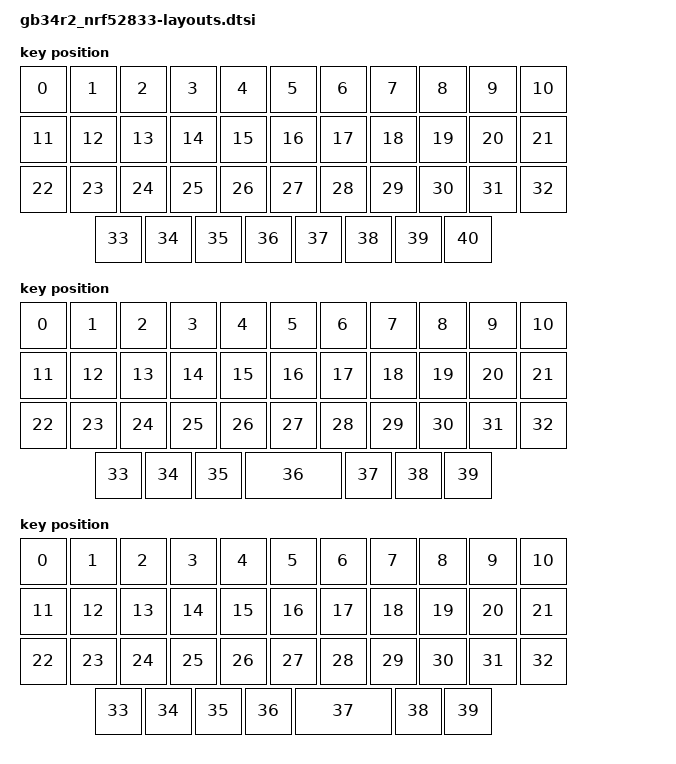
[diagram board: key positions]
/*
 * Copyright (c) 2025 The ZMK Contributors
 * SPDX-License-Identifier: MIT
 */

#include <physical_layouts.dtsi>

/ {

    /omit-if-no-ref/ layout_ortho_all1u: layout_ortho_all1u {
        compatible = "zmk,physical-layout";
        display-name = "Ortho / All 1u";

        transform = <&transform_ortho_all1u>;

        keys  //                     w   h    x    y     rot    rx    ry
            = <&key_physical_attrs 100 100    0    0       0     0     0>
            , <&key_physical_attrs 100 100  100    0       0     0     0>
            , <&key_physical_attrs 100 100  200    0       0     0     0>
            , <&key_physical_attrs 100 100  300    0       0     0     0>
            , <&key_physical_attrs 100 100  400    0       0     0     0>
            , <&key_physical_attrs 100 100  500    0       0     0     0>
            , <&key_physical_attrs 100 100  600    0       0     0     0>
            , <&key_physical_attrs 100 100  700    0       0     0     0>
            , <&key_physical_attrs 100 100  800    0       0     0     0>
            , <&key_physical_attrs 100 100  900    0       0     0     0>
            , <&key_physical_attrs 100 100 1000    0       0     0     0>
            , <&key_physical_attrs 100 100    0  100       0     0     0>
            , <&key_physical_attrs 100 100  100  100       0     0     0>
            , <&key_physical_attrs 100 100  200  100       0     0     0>
            , <&key_physical_attrs 100 100  300  100       0     0     0>
            , <&key_physical_attrs 100 100  400  100       0     0     0>
            , <&key_physical_attrs 100 100  500  100       0     0     0>
            , <&key_physical_attrs 100 100  600  100       0     0     0>
            , <&key_physical_attrs 100 100  700  100       0     0     0>
            , <&key_physical_attrs 100 100  800  100       0     0     0>
            , <&key_physical_attrs 100 100  900  100       0     0     0>
            , <&key_physical_attrs 100 100 1000  100       0     0     0>
            , <&key_physical_attrs 100 100    0  200       0     0     0>
            , <&key_physical_attrs 100 100  100  200       0     0     0>
            , <&key_physical_attrs 100 100  200  200       0     0     0>
            , <&key_physical_attrs 100 100  300  200       0     0     0>
            , <&key_physical_attrs 100 100  400  200       0     0     0>
            , <&key_physical_attrs 100 100  500  200       0     0     0>
            , <&key_physical_attrs 100 100  600  200       0     0     0>
            , <&key_physical_attrs 100 100  700  200       0     0     0>
            , <&key_physical_attrs 100 100  800  200       0     0     0>
            , <&key_physical_attrs 100 100  900  200       0     0     0>
            , <&key_physical_attrs 100 100 1000  200       0     0     0>
            , <&key_physical_attrs 100 100  150  300       0     0     0>
            , <&key_physical_attrs 100 100  250  300       0     0     0>
            , <&key_physical_attrs 100 100  350  300       0     0     0>
            , <&key_physical_attrs 100 100  450  300       0     0     0>
            , <&key_physical_attrs 100 100  550  300       0     0     0>
            , <&key_physical_attrs 100 100  650  300       0     0     0>
            , <&key_physical_attrs 100 100  750  300       0     0     0>
            , <&key_physical_attrs 100 100  850  300       0     0     0>
            ;
    };

    /omit-if-no-ref/ layout_ortho_1x2u: layout_ortho_1x2u {
        compatible = "zmk,physical-layout";
        display-name = "Ortho / 1x2u";

        transform = <&transform_ortho_1x2u>;

        keys  //                     w   h    x    y     rot    rx    ry
            = <&key_physical_attrs 100 100    0    0       0     0     0>
            , <&key_physical_attrs 100 100  100    0       0     0     0>
            , <&key_physical_attrs 100 100  200    0       0     0     0>
            , <&key_physical_attrs 100 100  300    0       0     0     0>
            , <&key_physical_attrs 100 100  400    0       0     0     0>
            , <&key_physical_attrs 100 100  500    0       0     0     0>
            , <&key_physical_attrs 100 100  600    0       0     0     0>
            , <&key_physical_attrs 100 100  700    0       0     0     0>
            , <&key_physical_attrs 100 100  800    0       0     0     0>
            , <&key_physical_attrs 100 100  900    0       0     0     0>
            , <&key_physical_attrs 100 100 1000    0       0     0     0>
            , <&key_physical_attrs 100 100    0  100       0     0     0>
            , <&key_physical_attrs 100 100  100  100       0     0     0>
            , <&key_physical_attrs 100 100  200  100       0     0     0>
            , <&key_physical_attrs 100 100  300  100       0     0     0>
            , <&key_physical_attrs 100 100  400  100       0     0     0>
            , <&key_physical_attrs 100 100  500  100       0     0     0>
            , <&key_physical_attrs 100 100  600  100       0     0     0>
            , <&key_physical_attrs 100 100  700  100       0     0     0>
            , <&key_physical_attrs 100 100  800  100       0     0     0>
            , <&key_physical_attrs 100 100  900  100       0     0     0>
            , <&key_physical_attrs 100 100 1000  100       0     0     0>
            , <&key_physical_attrs 100 100    0  200       0     0     0>
            , <&key_physical_attrs 100 100  100  200       0     0     0>
            , <&key_physical_attrs 100 100  200  200       0     0     0>
            , <&key_physical_attrs 100 100  300  200       0     0     0>
            , <&key_physical_attrs 100 100  400  200       0     0     0>
            , <&key_physical_attrs 100 100  500  200       0     0     0>
            , <&key_physical_attrs 100 100  600  200       0     0     0>
            , <&key_physical_attrs 100 100  700  200       0     0     0>
            , <&key_physical_attrs 100 100  800  200       0     0     0>
            , <&key_physical_attrs 100 100  900  200       0     0     0>
            , <&key_physical_attrs 100 100 1000  200       0     0     0>
            , <&key_physical_attrs 100 100  150  300       0     0     0>
            , <&key_physical_attrs 100 100  250  300       0     0     0>
            , <&key_physical_attrs 100 100  350  300       0     0     0>
            , <&key_physical_attrs 200 100  450  300       0     0     0>
            , <&key_physical_attrs 100 100  650  300       0     0     0>
            , <&key_physical_attrs 100 100  750  300       0     0     0>
            , <&key_physical_attrs 100 100  850  300       0     0     0>
            ;
    };

    /omit-if-no-ref/ layout_ortho_1u1u2u: layout_ortho_1u1u2u {
        compatible = "zmk,physical-layout";
        display-name = "Ortho / 1u 1u 2u";

        transform = <&transform_ortho_1u1u2u>;

        keys  //                     w   h    x    y     rot    rx    ry
            = <&key_physical_attrs 100 100    0    0       0     0     0>
            , <&key_physical_attrs 100 100  100    0       0     0     0>
            , <&key_physical_attrs 100 100  200    0       0     0     0>
            , <&key_physical_attrs 100 100  300    0       0     0     0>
            , <&key_physical_attrs 100 100  400    0       0     0     0>
            , <&key_physical_attrs 100 100  500    0       0     0     0>
            , <&key_physical_attrs 100 100  600    0       0     0     0>
            , <&key_physical_attrs 100 100  700    0       0     0     0>
            , <&key_physical_attrs 100 100  800    0       0     0     0>
            , <&key_physical_attrs 100 100  900    0       0     0     0>
            , <&key_physical_attrs 100 100 1000    0       0     0     0>
            , <&key_physical_attrs 100 100    0  100       0     0     0>
            , <&key_physical_attrs 100 100  100  100       0     0     0>
            , <&key_physical_attrs 100 100  200  100       0     0     0>
            , <&key_physical_attrs 100 100  300  100       0     0     0>
            , <&key_physical_attrs 100 100  400  100       0     0     0>
            , <&key_physical_attrs 100 100  500  100       0     0     0>
            , <&key_physical_attrs 100 100  600  100       0     0     0>
            , <&key_physical_attrs 100 100  700  100       0     0     0>
            , <&key_physical_attrs 100 100  800  100       0     0     0>
            , <&key_physical_attrs 100 100  900  100       0     0     0>
            , <&key_physical_attrs 100 100 1000  100       0     0     0>
            , <&key_physical_attrs 100 100    0  200       0     0     0>
            , <&key_physical_attrs 100 100  100  200       0     0     0>
            , <&key_physical_attrs 100 100  200  200       0     0     0>
            , <&key_physical_attrs 100 100  300  200       0     0     0>
            , <&key_physical_attrs 100 100  400  200       0     0     0>
            , <&key_physical_attrs 100 100  500  200       0     0     0>
            , <&key_physical_attrs 100 100  600  200       0     0     0>
            , <&key_physical_attrs 100 100  700  200       0     0     0>
            , <&key_physical_attrs 100 100  800  200       0     0     0>
            , <&key_physical_attrs 100 100  900  200       0     0     0>
            , <&key_physical_attrs 100 100 1000  200       0     0     0>
            , <&key_physical_attrs 100 100  150  300       0     0     0>
            , <&key_physical_attrs 100 100  250  300       0     0     0>
            , <&key_physical_attrs 100 100  350  300       0     0     0>
            , <&key_physical_attrs 100 100  450  300       0     0     0>
            , <&key_physical_attrs 200 100  550  300       0     0     0>
            , <&key_physical_attrs 100 100  750  300       0     0     0>
            , <&key_physical_attrs 100 100  850  300       0     0     0>
            ;
    };

    /omit-if-no-ref/ layout_ortho_2u1u1u: layout_ortho_2u1u1u {
        compatible = "zmk,physical-layout";
        display-name = "Ortho / 2u 1u 1u";

        transform = <&transform_ortho_2u1u1u>;

        keys  //                     w   h    x    y     rot    rx    ry
            = <&key_physical_attrs 100 100    0    0       0     0     0>
            , <&key_physical_attrs 100 100  100    0       0     0     0>
            , <&key_physical_attrs 100 100  200    0       0     0     0>
            , <&key_physical_attrs 100 100  300    0       0     0     0>
            , <&key_physical_attrs 100 100  400    0       0     0     0>
            , <&key_physical_attrs 100 100  500    0       0     0     0>
            , <&key_physical_attrs 100 100  600    0       0     0     0>
            , <&key_physical_attrs 100 100  700    0       0     0     0>
            , <&key_physical_attrs 100 100  800    0       0     0     0>
            , <&key_physical_attrs 100 100  900    0       0     0     0>
            , <&key_physical_attrs 100 100 1000    0       0     0     0>
            , <&key_physical_attrs 100 100    0  100       0     0     0>
            , <&key_physical_attrs 100 100  100  100       0     0     0>
            , <&key_physical_attrs 100 100  200  100       0     0     0>
            , <&key_physical_attrs 100 100  300  100       0     0     0>
            , <&key_physical_attrs 100 100  400  100       0     0     0>
            , <&key_physical_attrs 100 100  500  100       0     0     0>
            , <&key_physical_attrs 100 100  600  100       0     0     0>
            , <&key_physical_attrs 100 100  700  100       0     0     0>
            , <&key_physical_attrs 100 100  800  100       0     0     0>
            , <&key_physical_attrs 100 100  900  100       0     0     0>
            , <&key_physical_attrs 100 100 1000  100       0     0     0>
            , <&key_physical_attrs 100 100    0  200       0     0     0>
            , <&key_physical_attrs 100 100  100  200       0     0     0>
            , <&key_physical_attrs 100 100  200  200       0     0     0>
            , <&key_physical_attrs 100 100  300  200       0     0     0>
            , <&key_physical_attrs 100 100  400  200       0     0     0>
            , <&key_physical_attrs 100 100  500  200       0     0     0>
            , <&key_physical_attrs 100 100  600  200       0     0     0>
            , <&key_physical_attrs 100 100  700  200       0     0     0>
            , <&key_physical_attrs 100 100  800  200       0     0     0>
            , <&key_physical_attrs 100 100  900  200       0     0     0>
            , <&key_physical_attrs 100 100 1000  200       0     0     0>
            , <&key_physical_attrs 100 100  150  300       0     0     0>
            , <&key_physical_attrs 100 100  250  300       0     0     0>
            , <&key_physical_attrs 200 100  350  300       0     0     0>
            , <&key_physical_attrs 100 100  550  300       0     0     0>
            , <&key_physical_attrs 100 100  650  300       0     0     0>
            , <&key_physical_attrs 100 100  750  300       0     0     0>
            , <&key_physical_attrs 100 100  850  300       0     0     0>
            ;
    };

    /omit-if-no-ref/ layout_ortho_2x2u: layout_ortho_2x2u {
        compatible = "zmk,physical-layout";
        display-name = "Ortho / 2x2u";

        transform = <&transform_ortho_2x2u>;

        keys  //                     w   h    x    y     rot    rx    ry
            = <&key_physical_attrs 100 100    0    0       0     0     0>
            , <&key_physical_attrs 100 100  100    0       0     0     0>
            , <&key_physical_attrs 100 100  200    0       0     0     0>
            , <&key_physical_attrs 100 100  300    0       0     0     0>
            , <&key_physical_attrs 100 100  400    0       0     0     0>
            , <&key_physical_attrs 100 100  500    0       0     0     0>
            , <&key_physical_attrs 100 100  600    0       0     0     0>
            , <&key_physical_attrs 100 100  700    0       0     0     0>
            , <&key_physical_attrs 100 100  800    0       0     0     0>
            , <&key_physical_attrs 100 100  900    0       0     0     0>
            , <&key_physical_attrs 100 100 1000    0       0     0     0>
            , <&key_physical_attrs 100 100    0  100       0     0     0>
            , <&key_physical_attrs 100 100  100  100       0     0     0>
            , <&key_physical_attrs 100 100  200  100       0     0     0>
            , <&key_physical_attrs 100 100  300  100       0     0     0>
            , <&key_physical_attrs 100 100  400  100       0     0     0>
            , <&key_physical_attrs 100 100  500  100       0     0     0>
            , <&key_physical_attrs 100 100  600  100       0     0     0>
            , <&key_physical_attrs 100 100  700  100       0     0     0>
            , <&key_physical_attrs 100 100  800  100       0     0     0>
            , <&key_physical_attrs 100 100  900  100       0     0     0>
            , <&key_physical_attrs 100 100 1000  100       0     0     0>
            , <&key_physical_attrs 100 100    0  200       0     0     0>
            , <&key_physical_attrs 100 100  100  200       0     0     0>
            , <&key_physical_attrs 100 100  200  200       0     0     0>
            , <&key_physical_attrs 100 100  300  200       0     0     0>
            , <&key_physical_attrs 100 100  400  200       0     0     0>
            , <&key_physical_attrs 100 100  500  200       0     0     0>
            , <&key_physical_attrs 100 100  600  200       0     0     0>
            , <&key_physical_attrs 100 100  700  200       0     0     0>
            , <&key_physical_attrs 100 100  800  200       0     0     0>
            , <&key_physical_attrs 100 100  900  200       0     0     0>
            , <&key_physical_attrs 100 100 1000  200       0     0     0>
            , <&key_physical_attrs 100 100  150  300       0     0     0>
            , <&key_physical_attrs 100 100  250  300       0     0     0>
            , <&key_physical_attrs 200 100  350  300       0     0     0>
            , <&key_physical_attrs 200 100  550  300       0     0     0>
            , <&key_physical_attrs 100 100  750  300       0     0     0>
            , <&key_physical_attrs 100 100  850  300       0     0     0>
            ;
    };

    /omit-if-no-ref/ layout_ortho_1u1u1u3u: layout_ortho_1u1u1u3u {
        compatible = "zmk,physical-layout";
        display-name = "Ortho / 1u 1u 1u 3u";

        transform = <&transform_ortho_1u1u1u3u>;

        keys  //                     w   h    x    y     rot    rx    ry
            = <&key_physical_attrs 100 100    0    0       0     0     0>
            , <&key_physical_attrs 100 100  100    0       0     0     0>
            , <&key_physical_attrs 100 100  200    0       0     0     0>
            , <&key_physical_attrs 100 100  300    0       0     0     0>
            , <&key_physical_attrs 100 100  400    0       0     0     0>
            , <&key_physical_attrs 100 100  500    0       0     0     0>
            , <&key_physical_attrs 100 100  600    0       0     0     0>
            , <&key_physical_attrs 100 100  700    0       0     0     0>
            , <&key_physical_attrs 100 100  800    0       0     0     0>
            , <&key_physical_attrs 100 100  900    0       0     0     0>
            , <&key_physical_attrs 100 100 1000    0       0     0     0>
            , <&key_physical_attrs 100 100    0  100       0     0     0>
            , <&key_physical_attrs 100 100  100  100       0     0     0>
            , <&key_physical_attrs 100 100  200  100       0     0     0>
            , <&key_physical_attrs 100 100  300  100       0     0     0>
            , <&key_physical_attrs 100 100  400  100       0     0     0>
            , <&key_physical_attrs 100 100  500  100       0     0     0>
            , <&key_physical_attrs 100 100  600  100       0     0     0>
            , <&key_physical_attrs 100 100  700  100       0     0     0>
            , <&key_physical_attrs 100 100  800  100       0     0     0>
            , <&key_physical_attrs 100 100  900  100       0     0     0>
            , <&key_physical_attrs 100 100 1000  100       0     0     0>
            , <&key_physical_attrs 100 100    0  200       0     0     0>
            , <&key_physical_attrs 100 100  100  200       0     0     0>
            , <&key_physical_attrs 100 100  200  200       0     0     0>
            , <&key_physical_attrs 100 100  300  200       0     0     0>
            , <&key_physical_attrs 100 100  400  200       0     0     0>
            , <&key_physical_attrs 100 100  500  200       0     0     0>
            , <&key_physical_attrs 100 100  600  200       0     0     0>
            , <&key_physical_attrs 100 100  700  200       0     0     0>
            , <&key_physical_attrs 100 100  800  200       0     0     0>
            , <&key_physical_attrs 100 100  900  200       0     0     0>
            , <&key_physical_attrs 100 100 1000  200       0     0     0>
            , <&key_physical_attrs 100 100  150  300       0     0     0>
            , <&key_physical_attrs 100 100  250  300       0     0     0>
            , <&key_physical_attrs 100 100  350  300       0     0     0>
            , <&key_physical_attrs 100 100  450  300       0     0     0>
            , <&key_physical_attrs 300 100  550  300       0     0     0>
            , <&key_physical_attrs 100 100  850  300       0     0     0>
            ;
    };

    /omit-if-no-ref/ layout_ortho_1u2u3u: layout_ortho_1u2u3u {
        compatible = "zmk,physical-layout";
        display-name = "Ortho / 1u 2u 3u";

        transform = <&transform_ortho_1u2u3u>;

        keys  //                     w   h    x    y     rot    rx    ry
            = <&key_physical_attrs 100 100    0    0       0     0     0>
            , <&key_physical_attrs 100 100  100    0       0     0     0>
            , <&key_physical_attrs 100 100  200    0       0     0     0>
            , <&key_physical_attrs 100 100  300    0       0     0     0>
            , <&key_physical_attrs 100 100  400    0       0     0     0>
            , <&key_physical_attrs 100 100  500    0       0     0     0>
            , <&key_physical_attrs 100 100  600    0       0     0     0>
            , <&key_physical_attrs 100 100  700    0       0     0     0>
            , <&key_physical_attrs 100 100  800    0       0     0     0>
            , <&key_physical_attrs 100 100  900    0       0     0     0>
            , <&key_physical_attrs 100 100 1000    0       0     0     0>
            , <&key_physical_attrs 100 100    0  100       0     0     0>
            , <&key_physical_attrs 100 100  100  100       0     0     0>
            , <&key_physical_attrs 100 100  200  100       0     0     0>
            , <&key_physical_attrs 100 100  300  100       0     0     0>
            , <&key_physical_attrs 100 100  400  100       0     0     0>
            , <&key_physical_attrs 100 100  500  100       0     0     0>
            , <&key_physical_attrs 100 100  600  100       0     0     0>
            , <&key_physical_attrs 100 100  700  100       0     0     0>
            , <&key_physical_attrs 100 100  800  100       0     0     0>
            , <&key_physical_attrs 100 100  900  100       0     0     0>
            , <&key_physical_attrs 100 100 1000  100       0     0     0>
            , <&key_physical_attrs 100 100    0  200       0     0     0>
            , <&key_physical_attrs 100 100  100  200       0     0     0>
            , <&key_physical_attrs 100 100  200  200       0     0     0>
            , <&key_physical_attrs 100 100  300  200       0     0     0>
            , <&key_physical_attrs 100 100  400  200       0     0     0>
            , <&key_physical_attrs 100 100  500  200       0     0     0>
            , <&key_physical_attrs 100 100  600  200       0     0     0>
            , <&key_physical_attrs 100 100  700  200       0     0     0>
            , <&key_physical_attrs 100 100  800  200       0     0     0>
            , <&key_physical_attrs 100 100  900  200       0     0     0>
            , <&key_physical_attrs 100 100 1000  200       0     0     0>
            , <&key_physical_attrs 100 100  150  300       0     0     0>
            , <&key_physical_attrs 100 100  250  300       0     0     0>
            , <&key_physical_attrs 200 100  350  300       0     0     0>
            , <&key_physical_attrs 300 100  550  300       0     0     0>
            , <&key_physical_attrs 100 100  850  300       0     0     0>
            ;
    };

    /omit-if-no-ref/ layout_ortho_3u1u1u1u: layout_ortho_3u1u1u1u {
        compatible = "zmk,physical-layout";
        display-name = "Ortho / 3u 1u 1u 1u";

        transform = <&transform_ortho_3u1u1u1u>;

        keys  //                     w   h    x    y     rot    rx    ry
            = <&key_physical_attrs 100 100    0    0       0     0     0>
            , <&key_physical_attrs 100 100  100    0       0     0     0>
            , <&key_physical_attrs 100 100  200    0       0     0     0>
            , <&key_physical_attrs 100 100  300    0       0     0     0>
            , <&key_physical_attrs 100 100  400    0       0     0     0>
            , <&key_physical_attrs 100 100  500    0       0     0     0>
            , <&key_physical_attrs 100 100  600    0       0     0     0>
            , <&key_physical_attrs 100 100  700    0       0     0     0>
            , <&key_physical_attrs 100 100  800    0       0     0     0>
            , <&key_physical_attrs 100 100  900    0       0     0     0>
            , <&key_physical_attrs 100 100 1000    0       0     0     0>
            , <&key_physical_attrs 100 100    0  100       0     0     0>
            , <&key_physical_attrs 100 100  100  100       0     0     0>
            , <&key_physical_attrs 100 100  200  100       0     0     0>
            , <&key_physical_attrs 100 100  300  100       0     0     0>
            , <&key_physical_attrs 100 100  400  100       0     0     0>
            , <&key_physical_attrs 100 100  500  100       0     0     0>
            , <&key_physical_attrs 100 100  600  100       0     0     0>
            , <&key_physical_attrs 100 100  700  100       0     0     0>
            , <&key_physical_attrs 100 100  800  100       0     0     0>
            , <&key_physical_attrs 100 100  900  100       0     0     0>
            , <&key_physical_attrs 100 100 1000  100       0     0     0>
            , <&key_physical_attrs 100 100    0  200       0     0     0>
            , <&key_physical_attrs 100 100  100  200       0     0     0>
            , <&key_physical_attrs 100 100  200  200       0     0     0>
            , <&key_physical_attrs 100 100  300  200       0     0     0>
            , <&key_physical_attrs 100 100  400  200       0     0     0>
            , <&key_physical_attrs 100 100  500  200       0     0     0>
            , <&key_physical_attrs 100 100  600  200       0     0     0>
            , <&key_physical_attrs 100 100  700  200       0     0     0>
            , <&key_physical_attrs 100 100  800  200       0     0     0>
            , <&key_physical_attrs 100 100  900  200       0     0     0>
            , <&key_physical_attrs 100 100 1000  200       0     0     0>
            , <&key_physical_attrs 100 100  150  300       0     0     0>
            , <&key_physical_attrs 300 100  250  300       0     0     0>
            , <&key_physical_attrs 100 100  550  300       0     0     0>
            , <&key_physical_attrs 100 100  650  300       0     0     0>
            , <&key_physical_attrs 100 100  750  300       0     0     0>
            , <&key_physical_attrs 100 100  850  300       0     0     0>
            ;
    };

    /omit-if-no-ref/ layout_ortho_3u2u1u: layout_ortho_3u2u1u {
        compatible = "zmk,physical-layout";
        display-name = "Ortho / 3u 2u 1u";

        transform = <&transform_ortho_3u2u1u>;

        keys  //                     w   h    x    y     rot    rx    ry
            = <&key_physical_attrs 100 100    0    0       0     0     0>
            , <&key_physical_attrs 100 100  100    0       0     0     0>
            , <&key_physical_attrs 100 100  200    0       0     0     0>
            , <&key_physical_attrs 100 100  300    0       0     0     0>
            , <&key_physical_attrs 100 100  400    0       0     0     0>
            , <&key_physical_attrs 100 100  500    0       0     0     0>
            , <&key_physical_attrs 100 100  600    0       0     0     0>
            , <&key_physical_attrs 100 100  700    0       0     0     0>
            , <&key_physical_attrs 100 100  800    0       0     0     0>
            , <&key_physical_attrs 100 100  900    0       0     0     0>
            , <&key_physical_attrs 100 100 1000    0       0     0     0>
            , <&key_physical_attrs 100 100    0  100       0     0     0>
            , <&key_physical_attrs 100 100  100  100       0     0     0>
            , <&key_physical_attrs 100 100  200  100       0     0     0>
            , <&key_physical_attrs 100 100  300  100       0     0     0>
            , <&key_physical_attrs 100 100  400  100       0     0     0>
            , <&key_physical_attrs 100 100  500  100       0     0     0>
            , <&key_physical_attrs 100 100  600  100       0     0     0>
            , <&key_physical_attrs 100 100  700  100       0     0     0>
            , <&key_physical_attrs 100 100  800  100       0     0     0>
            , <&key_physical_attrs 100 100  900  100       0     0     0>
            , <&key_physical_attrs 100 100 1000  100       0     0     0>
            , <&key_physical_attrs 100 100    0  200       0     0     0>
            , <&key_physical_attrs 100 100  100  200       0     0     0>
            , <&key_physical_attrs 100 100  200  200       0     0     0>
            , <&key_physical_attrs 100 100  300  200       0     0     0>
            , <&key_physical_attrs 100 100  400  200       0     0     0>
            , <&key_physical_attrs 100 100  500  200       0     0     0>
            , <&key_physical_attrs 100 100  600  200       0     0     0>
            , <&key_physical_attrs 100 100  700  200       0     0     0>
            , <&key_physical_attrs 100 100  800  200       0     0     0>
            , <&key_physical_attrs 100 100  900  200       0     0     0>
            , <&key_physical_attrs 100 100 1000  200       0     0     0>
            , <&key_physical_attrs 100 100  150  300       0     0     0>
            , <&key_physical_attrs 300 100  250  300       0     0     0>
            , <&key_physical_attrs 200 100  550  300       0     0     0>
            , <&key_physical_attrs 100 100  750  300       0     0     0>
            , <&key_physical_attrs 100 100  850  300       0     0     0>
            ;
    };

    /omit-if-no-ref/ layout_ortho_2x3u: layout_ortho_2x3u {
        compatible = "zmk,physical-layout";
        display-name = "Ortho / 2x3u";

        transform = <&transform_ortho_2x3u>;

        keys  //                     w   h    x    y     rot    rx    ry
            = <&key_physical_attrs 100 100    0    0       0     0     0>
            , <&key_physical_attrs 100 100  100    0       0     0     0>
            , <&key_physical_attrs 100 100  200    0       0     0     0>
            , <&key_physical_attrs 100 100  300    0       0     0     0>
            , <&key_physical_attrs 100 100  400    0       0     0     0>
            , <&key_physical_attrs 100 100  500    0       0     0     0>
            , <&key_physical_attrs 100 100  600    0       0     0     0>
            , <&key_physical_attrs 100 100  700    0       0     0     0>
            , <&key_physical_attrs 100 100  800    0       0     0     0>
            , <&key_physical_attrs 100 100  900    0       0     0     0>
            , <&key_physical_attrs 100 100 1000    0       0     0     0>
            , <&key_physical_attrs 100 100    0  100       0     0     0>
            , <&key_physical_attrs 100 100  100  100       0     0     0>
            , <&key_physical_attrs 100 100  200  100       0     0     0>
            , <&key_physical_attrs 100 100  300  100       0     0     0>
            , <&key_physical_attrs 100 100  400  100       0     0     0>
            , <&key_physical_attrs 100 100  500  100       0     0     0>
            , <&key_physical_attrs 100 100  600  100       0     0     0>
            , <&key_physical_attrs 100 100  700  100       0     0     0>
            , <&key_physical_attrs 100 100  800  100       0     0     0>
            , <&key_physical_attrs 100 100  900  100       0     0     0>
            , <&key_physical_attrs 100 100 1000  100       0     0     0>
            , <&key_physical_attrs 100 100    0  200       0     0     0>
            , <&key_physical_attrs 100 100  100  200       0     0     0>
            , <&key_physical_attrs 100 100  200  200       0     0     0>
            , <&key_physical_attrs 100 100  300  200       0     0     0>
            , <&key_physical_attrs 100 100  400  200       0     0     0>
            , <&key_physical_attrs 100 100  500  200       0     0     0>
            , <&key_physical_attrs 100 100  600  200       0     0     0>
            , <&key_physical_attrs 100 100  700  200       0     0     0>
            , <&key_physical_attrs 100 100  800  200       0     0     0>
            , <&key_physical_attrs 100 100  900  200       0     0     0>
            , <&key_physical_attrs 100 100 1000  200       0     0     0>
            , <&key_physical_attrs 100 100  150  300       0     0     0>
            , <&key_physical_attrs 300 100  250  300       0     0     0>
            , <&key_physical_attrs 300 100  550  300       0     0     0>
            , <&key_physical_attrs 100 100  850  300       0     0     0>
            ;
    };

    /omit-if-no-ref/ layout_ortho_6u: layout_ortho_6u {
        compatible = "zmk,physical-layout";
        display-name = "Ortho / 6u";

        transform = <&transform_ortho_6u>;

        keys  //                     w   h    x    y     rot    rx    ry
            = <&key_physical_attrs 100 100    0    0       0     0     0>
            , <&key_physical_attrs 100 100  100    0       0     0     0>
            , <&key_physical_attrs 100 100  200    0       0     0     0>
            , <&key_physical_attrs 100 100  300    0       0     0     0>
            , <&key_physical_attrs 100 100  400    0       0     0     0>
            , <&key_physical_attrs 100 100  500    0       0     0     0>
            , <&key_physical_attrs 100 100  600    0       0     0     0>
            , <&key_physical_attrs 100 100  700    0       0     0     0>
            , <&key_physical_attrs 100 100  800    0       0     0     0>
            , <&key_physical_attrs 100 100  900    0       0     0     0>
            , <&key_physical_attrs 100 100 1000    0       0     0     0>
            , <&key_physical_attrs 100 100    0  100       0     0     0>
            , <&key_physical_attrs 100 100  100  100       0     0     0>
            , <&key_physical_attrs 100 100  200  100       0     0     0>
            , <&key_physical_attrs 100 100  300  100       0     0     0>
            , <&key_physical_attrs 100 100  400  100       0     0     0>
            , <&key_physical_attrs 100 100  500  100       0     0     0>
            , <&key_physical_attrs 100 100  600  100       0     0     0>
            , <&key_physical_attrs 100 100  700  100       0     0     0>
            , <&key_physical_attrs 100 100  800  100       0     0     0>
            , <&key_physical_attrs 100 100  900  100       0     0     0>
            , <&key_physical_attrs 100 100 1000  100       0     0     0>
            , <&key_physical_attrs 100 100    0  200       0     0     0>
            , <&key_physical_attrs 100 100  100  200       0     0     0>
            , <&key_physical_attrs 100 100  200  200       0     0     0>
            , <&key_physical_attrs 100 100  300  200       0     0     0>
            , <&key_physical_attrs 100 100  400  200       0     0     0>
            , <&key_physical_attrs 100 100  500  200       0     0     0>
            , <&key_physical_attrs 100 100  600  200       0     0     0>
            , <&key_physical_attrs 100 100  700  200       0     0     0>
            , <&key_physical_attrs 100 100  800  200       0     0     0>
            , <&key_physical_attrs 100 100  900  200       0     0     0>
            , <&key_physical_attrs 100 100 1000  200       0     0     0>
            , <&key_physical_attrs 100 100  150  300       0     0     0>
            , <&key_physical_attrs 600 100  250  300       0     0     0>
            , <&key_physical_attrs 100 100  850  300       0     0     0>
            ;
    };

    /omit-if-no-ref/ layout_standard_all1u: layout_standard_all1u {
        compatible = "zmk,physical-layout";
        display-name = "Standard / All 1u";

        transform = <&transform_standard_all1u>;

        keys  //                     w   h    x    y     rot    rx    ry
            = <&key_physical_attrs 100 100    0    0       0     0     0>
            , <&key_physical_attrs 100 100  100    0       0     0     0>
            , <&key_physical_attrs 100 100  200    0       0     0     0>
            , <&key_physical_attrs 100 100  300    0       0     0     0>
            , <&key_physical_attrs 100 100  400    0       0     0     0>
            , <&key_physical_attrs 100 100  500    0       0     0     0>
            , <&key_physical_attrs 100 100  600    0       0     0     0>
            , <&key_physical_attrs 100 100  700    0       0     0     0>
            , <&key_physical_attrs 100 100  800    0       0     0     0>
            , <&key_physical_attrs 100 100  900    0       0     0     0>
            , <&key_physical_attrs 100 100 1000    0       0     0     0>
            , <&key_physical_attrs 125 100    0  100       0     0     0>
            , <&key_physical_attrs 100 100  125  100       0     0     0>
            , <&key_physical_attrs 100 100  225  100       0     0     0>
            , <&key_physical_attrs 100 100  325  100       0     0     0>
            , <&key_physical_attrs 100 100  425  100       0     0     0>
            , <&key_physical_attrs 100 100  525  100       0     0     0>
            , <&key_physical_attrs 100 100  625  100       0     0     0>
            , <&key_physical_attrs 100 100  725  100       0     0     0>
            , <&key_physical_attrs 100 100  825  100       0     0     0>
            , <&key_physical_attrs 175 100  925  100       0     0     0>
            , <&key_physical_attrs 175 100    0  200       0     0     0>
            , <&key_physical_attrs 100 100  175  200       0     0     0>
            , <&key_physical_attrs 100 100  275  200       0     0     0>
            , <&key_physical_attrs 100 100  375  200       0     0     0>
            , <&key_physical_attrs 100 100  475  200       0     0     0>
            , <&key_physical_attrs 100 100  575  200       0     0     0>
            , <&key_physical_attrs 100 100  675  200       0     0     0>
            , <&key_physical_attrs 100 100  775  200       0     0     0>
            , <&key_physical_attrs 100 100  875  200       0     0     0>
            , <&key_physical_attrs 125 100  975  200       0     0     0>
            , <&key_physical_attrs 100 100  150  300       0     0     0>
            , <&key_physical_attrs 100 100  250  300       0     0     0>
            , <&key_physical_attrs 100 100  350  300       0     0     0>
            , <&key_physical_attrs 100 100  450  300       0     0     0>
            , <&key_physical_attrs 100 100  550  300       0     0     0>
            , <&key_physical_attrs 100 100  650  300       0     0     0>
            , <&key_physical_attrs 100 100  750  300       0     0     0>
            , <&key_physical_attrs 100 100  850  300       0     0     0>
            ;
    };

    /omit-if-no-ref/ layout_standard_1x2u: layout_standard_1x2u {
        compatible = "zmk,physical-layout";
        display-name = "Standard / 1x2u";

        transform = <&transform_standard_1x2u>;

        keys  //                     w   h    x    y     rot    rx    ry
            = <&key_physical_attrs 100 100    0    0       0     0     0>
            , <&key_physical_attrs 100 100  100    0       0     0     0>
            , <&key_physical_attrs 100 100  200    0       0     0     0>
            , <&key_physical_attrs 100 100  300    0       0     0     0>
            , <&key_physical_attrs 100 100  400    0       0     0     0>
            , <&key_physical_attrs 100 100  500    0       0     0     0>
            , <&key_physical_attrs 100 100  600    0       0     0     0>
            , <&key_physical_attrs 100 100  700    0       0     0     0>
            , <&key_physical_attrs 100 100  800    0       0     0     0>
            , <&key_physical_attrs 100 100  900    0       0     0     0>
            , <&key_physical_attrs 100 100 1000    0       0     0     0>
            , <&key_physical_attrs 125 100    0  100       0     0     0>
            , <&key_physical_attrs 100 100  125  100       0     0     0>
            , <&key_physical_attrs 100 100  225  100       0     0     0>
            , <&key_physical_attrs 100 100  325  100       0     0     0>
            , <&key_physical_attrs 100 100  425  100       0     0     0>
            , <&key_physical_attrs 100 100  525  100       0     0     0>
            , <&key_physical_attrs 100 100  625  100       0     0     0>
            , <&key_physical_attrs 100 100  725  100       0     0     0>
            , <&key_physical_attrs 100 100  825  100       0     0     0>
            , <&key_physical_attrs 175 100  925  100       0     0     0>
            , <&key_physical_attrs 175 100    0  200       0     0     0>
            , <&key_physical_attrs 100 100  175  200       0     0     0>
            , <&key_physical_attrs 100 100  275  200       0     0     0>
            , <&key_physical_attrs 100 100  375  200       0     0     0>
            , <&key_physical_attrs 100 100  475  200       0     0     0>
            , <&key_physical_attrs 100 100  575  200       0     0     0>
            , <&key_physical_attrs 100 100  675  200       0     0     0>
            , <&key_physical_attrs 100 100  775  200       0     0     0>
            , <&key_physical_attrs 100 100  875  200       0     0     0>
            , <&key_physical_attrs 125 100  975  200       0     0     0>
            , <&key_physical_attrs 100 100  150  300       0     0     0>
            , <&key_physical_attrs 100 100  250  300       0     0     0>
            , <&key_physical_attrs 100 100  350  300       0     0     0>
            , <&key_physical_attrs 200 100  450  300       0     0     0>
            , <&key_physical_attrs 100 100  650  300       0     0     0>
            , <&key_physical_attrs 100 100  750  300       0     0     0>
            , <&key_physical_attrs 100 100  850  300       0     0     0>
            ;
    };

    /omit-if-no-ref/ layout_standard_1u1u2u: layout_standard_1u1u2u {
        compatible = "zmk,physical-layout";
        display-name = "Standard / 1u 1u 2u";

        transform = <&transform_standard_1u1u2u>;

        keys  //                     w   h    x    y     rot    rx    ry
            = <&key_physical_attrs 100 100    0    0       0     0     0>
            , <&key_physical_attrs 100 100  100    0       0     0     0>
            , <&key_physical_attrs 100 100  200    0       0     0     0>
            , <&key_physical_attrs 100 100  300    0       0     0     0>
            , <&key_physical_attrs 100 100  400    0       0     0     0>
            , <&key_physical_attrs 100 100  500    0       0     0     0>
            , <&key_physical_attrs 100 100  600    0       0     0     0>
            , <&key_physical_attrs 100 100  700    0       0     0     0>
            , <&key_physical_attrs 100 100  800    0       0     0     0>
            , <&key_physical_attrs 100 100  900    0       0     0     0>
            , <&key_physical_attrs 100 100 1000    0       0     0     0>
            , <&key_physical_attrs 125 100    0  100       0     0     0>
            , <&key_physical_attrs 100 100  125  100       0     0     0>
            , <&key_physical_attrs 100 100  225  100       0     0     0>
            , <&key_physical_attrs 100 100  325  100       0     0     0>
            , <&key_physical_attrs 100 100  425  100       0     0     0>
            , <&key_physical_attrs 100 100  525  100       0     0     0>
            , <&key_physical_attrs 100 100  625  100       0     0     0>
            , <&key_physical_attrs 100 100  725  100       0     0     0>
            , <&key_physical_attrs 100 100  825  100       0     0     0>
            , <&key_physical_attrs 175 100  925  100       0     0     0>
            , <&key_physical_attrs 175 100    0  200       0     0     0>
            , <&key_physical_attrs 100 100  175  200       0     0     0>
            , <&key_physical_attrs 100 100  275  200       0     0     0>
            , <&key_physical_attrs 100 100  375  200       0     0     0>
            , <&key_physical_attrs 100 100  475  200       0     0     0>
            , <&key_physical_attrs 100 100  575  200       0     0     0>
            , <&key_physical_attrs 100 100  675  200       0     0     0>
            , <&key_physical_attrs 100 100  775  200       0     0     0>
            , <&key_physical_attrs 100 100  875  200       0     0     0>
            , <&key_physical_attrs 125 100  975  200       0     0     0>
            , <&key_physical_attrs 100 100  150  300       0     0     0>
            , <&key_physical_attrs 100 100  250  300       0     0     0>
            , <&key_physical_attrs 100 100  350  300       0     0     0>
            , <&key_physical_attrs 100 100  450  300       0     0     0>
            , <&key_physical_attrs 200 100  550  300       0     0     0>
            , <&key_physical_attrs 100 100  750  300       0     0     0>
            , <&key_physical_attrs 100 100  850  300       0     0     0>
            ;
    };

    /omit-if-no-ref/ layout_standard_2u1u1u: layout_standard_2u1u1u {
        compatible = "zmk,physical-layout";
        display-name = "Standard / 2u 1u 1u";

        transform = <&transform_standard_2u1u1u>;

        keys  //                     w   h    x    y     rot    rx    ry
            = <&key_physical_attrs 100 100    0    0       0     0     0>
            , <&key_physical_attrs 100 100  100    0       0     0     0>
            , <&key_physical_attrs 100 100  200    0       0     0     0>
            , <&key_physical_attrs 100 100  300    0       0     0     0>
            , <&key_physical_attrs 100 100  400    0       0     0     0>
            , <&key_physical_attrs 100 100  500    0       0     0     0>
            , <&key_physical_attrs 100 100  600    0       0     0     0>
            , <&key_physical_attrs 100 100  700    0       0     0     0>
            , <&key_physical_attrs 100 100  800    0       0     0     0>
            , <&key_physical_attrs 100 100  900    0       0     0     0>
            , <&key_physical_attrs 100 100 1000    0       0     0     0>
            , <&key_physical_attrs 125 100    0  100       0     0     0>
            , <&key_physical_attrs 100 100  125  100       0     0     0>
            , <&key_physical_attrs 100 100  225  100       0     0     0>
            , <&key_physical_attrs 100 100  325  100       0     0     0>
            , <&key_physical_attrs 100 100  425  100       0     0     0>
            , <&key_physical_attrs 100 100  525  100       0     0     0>
            , <&key_physical_attrs 100 100  625  100       0     0     0>
            , <&key_physical_attrs 100 100  725  100       0     0     0>
            , <&key_physical_attrs 100 100  825  100       0     0     0>
            , <&key_physical_attrs 175 100  925  100       0     0     0>
            , <&key_physical_attrs 175 100    0  200       0     0     0>
            , <&key_physical_attrs 100 100  175  200       0     0     0>
            , <&key_physical_attrs 100 100  275  200       0     0     0>
            , <&key_physical_attrs 100 100  375  200       0     0     0>
            , <&key_physical_attrs 100 100  475  200       0     0     0>
            , <&key_physical_attrs 100 100  575  200       0     0     0>
            , <&key_physical_attrs 100 100  675  200       0     0     0>
            , <&key_physical_attrs 100 100  775  200       0     0     0>
            , <&key_physical_attrs 100 100  875  200       0     0     0>
            , <&key_physical_attrs 125 100  975  200       0     0     0>
            , <&key_physical_attrs 100 100  150  300       0     0     0>
            , <&key_physical_attrs 100 100  250  300       0     0     0>
            , <&key_physical_attrs 200 100  350  300       0     0     0>
            , <&key_physical_attrs 100 100  550  300       0     0     0>
            , <&key_physical_attrs 100 100  650  300       0     0     0>
            , <&key_physical_attrs 100 100  750  300       0     0     0>
            , <&key_physical_attrs 100 100  850  300       0     0     0>
            ;
    };

    /omit-if-no-ref/ layout_standard_2x2u: layout_standard_2x2u {
        compatible = "zmk,physical-layout";
        display-name = "Standard / 2x2u";

        transform = <&transform_standard_2x2u>;

        keys  //                     w   h    x    y     rot    rx    ry
            = <&key_physical_attrs 100 100    0    0       0     0     0>
            , <&key_physical_attrs 100 100  100    0       0     0     0>
            , <&key_physical_attrs 100 100  200    0       0     0     0>
            , <&key_physical_attrs 100 100  300    0       0     0     0>
            , <&key_physical_attrs 100 100  400    0       0     0     0>
            , <&key_physical_attrs 100 100  500    0       0     0     0>
            , <&key_physical_attrs 100 100  600    0       0     0     0>
            , <&key_physical_attrs 100 100  700    0       0     0     0>
            , <&key_physical_attrs 100 100  800    0       0     0     0>
            , <&key_physical_attrs 100 100  900    0       0     0     0>
            , <&key_physical_attrs 100 100 1000    0       0     0     0>
            , <&key_physical_attrs 125 100    0  100       0     0     0>
            , <&key_physical_attrs 100 100  125  100       0     0     0>
            , <&key_physical_attrs 100 100  225  100       0     0     0>
            , <&key_physical_attrs 100 100  325  100       0     0     0>
            , <&key_physical_attrs 100 100  425  100       0     0     0>
            , <&key_physical_attrs 100 100  525  100       0     0     0>
            , <&key_physical_attrs 100 100  625  100       0     0     0>
            , <&key_physical_attrs 100 100  725  100       0     0     0>
            , <&key_physical_attrs 100 100  825  100       0     0     0>
            , <&key_physical_attrs 175 100  925  100       0     0     0>
            , <&key_physical_attrs 175 100    0  200       0     0     0>
            , <&key_physical_attrs 100 100  175  200       0     0     0>
            , <&key_physical_attrs 100 100  275  200       0     0     0>
            , <&key_physical_attrs 100 100  375  200       0     0     0>
            , <&key_physical_attrs 100 100  475  200       0     0     0>
            , <&key_physical_attrs 100 100  575  200       0     0     0>
            , <&key_physical_attrs 100 100  675  200       0     0     0>
            , <&key_physical_attrs 100 100  775  200       0     0     0>
            , <&key_physical_attrs 100 100  875  200       0     0     0>
            , <&key_physical_attrs 125 100  975  200       0     0     0>
            , <&key_physical_attrs 100 100  150  300       0     0     0>
            , <&key_physical_attrs 100 100  250  300       0     0     0>
            , <&key_physical_attrs 200 100  350  300       0     0     0>
            , <&key_physical_attrs 200 100  550  300       0     0     0>
            , <&key_physical_attrs 100 100  750  300       0     0     0>
            , <&key_physical_attrs 100 100  850  300       0     0     0>
            ;
    };

    /omit-if-no-ref/ layout_standard_1u1u1u3u: layout_standard_1u1u1u3u {
        compatible = "zmk,physical-layout";
        display-name = "Standard / 1u 1u 1u 3u";

        transform = <&transform_standard_1u1u1u3u>;

        keys  //                     w   h    x    y     rot    rx    ry
            = <&key_physical_attrs 100 100    0    0       0     0     0>
            , <&key_physical_attrs 100 100  100    0       0     0     0>
            , <&key_physical_attrs 100 100  200    0       0     0     0>
            , <&key_physical_attrs 100 100  300    0       0     0     0>
            , <&key_physical_attrs 100 100  400    0       0     0     0>
            , <&key_physical_attrs 100 100  500    0       0     0     0>
            , <&key_physical_attrs 100 100  600    0       0     0     0>
            , <&key_physical_attrs 100 100  700    0       0     0     0>
            , <&key_physical_attrs 100 100  800    0       0     0     0>
            , <&key_physical_attrs 100 100  900    0       0     0     0>
            , <&key_physical_attrs 100 100 1000    0       0     0     0>
            , <&key_physical_attrs 125 100    0  100       0     0     0>
            , <&key_physical_attrs 100 100  125  100       0     0     0>
            , <&key_physical_attrs 100 100  225  100       0     0     0>
            , <&key_physical_attrs 100 100  325  100       0     0     0>
            , <&key_physical_attrs 100 100  425  100       0     0     0>
            , <&key_physical_attrs 100 100  525  100       0     0     0>
            , <&key_physical_attrs 100 100  625  100       0     0     0>
            , <&key_physical_attrs 100 100  725  100       0     0     0>
            , <&key_physical_attrs 100 100  825  100       0     0     0>
            , <&key_physical_attrs 175 100  925  100       0     0     0>
            , <&key_physical_attrs 175 100    0  200       0     0     0>
            , <&key_physical_attrs 100 100  175  200       0     0     0>
            , <&key_physical_attrs 100 100  275  200       0     0     0>
            , <&key_physical_attrs 100 100  375  200       0     0     0>
            , <&key_physical_attrs 100 100  475  200       0     0     0>
            , <&key_physical_attrs 100 100  575  200       0     0     0>
            , <&key_physical_attrs 100 100  675  200       0     0     0>
            , <&key_physical_attrs 100 100  775  200       0     0     0>
            , <&key_physical_attrs 100 100  875  200       0     0     0>
            , <&key_physical_attrs 125 100  975  200       0     0     0>
            , <&key_physical_attrs 100 100  150  300       0     0     0>
            , <&key_physical_attrs 100 100  250  300       0     0     0>
            , <&key_physical_attrs 100 100  350  300       0     0     0>
            , <&key_physical_attrs 100 100  450  300       0     0     0>
            , <&key_physical_attrs 300 100  550  300       0     0     0>
            , <&key_physical_attrs 100 100  850  300       0     0     0>
            ;
    };

    /omit-if-no-ref/ layout_standard_1u2u3u: layout_standard_1u2u3u {
        compatible = "zmk,physical-layout";
        display-name = "Standard / 1u 2u 3u";

        transform = <&transform_standard_1u2u3u>;

        keys  //                     w   h    x    y     rot    rx    ry
            = <&key_physical_attrs 100 100    0    0       0     0     0>
            , <&key_physical_attrs 100 100  100    0       0     0     0>
            , <&key_physical_attrs 100 100  200    0       0     0     0>
            , <&key_physical_attrs 100 100  300    0       0     0     0>
            , <&key_physical_attrs 100 100  400    0       0     0     0>
            , <&key_physical_attrs 100 100  500    0       0     0     0>
            , <&key_physical_attrs 100 100  600    0       0     0     0>
            , <&key_physical_attrs 100 100  700    0       0     0     0>
            , <&key_physical_attrs 100 100  800    0       0     0     0>
            , <&key_physical_attrs 100 100  900    0       0     0     0>
            , <&key_physical_attrs 100 100 1000    0       0     0     0>
            , <&key_physical_attrs 125 100    0  100       0     0     0>
            , <&key_physical_attrs 100 100  125  100       0     0     0>
            , <&key_physical_attrs 100 100  225  100       0     0     0>
            , <&key_physical_attrs 100 100  325  100       0     0     0>
            , <&key_physical_attrs 100 100  425  100       0     0     0>
            , <&key_physical_attrs 100 100  525  100       0     0     0>
            , <&key_physical_attrs 100 100  625  100       0     0     0>
            , <&key_physical_attrs 100 100  725  100       0     0     0>
            , <&key_physical_attrs 100 100  825  100       0     0     0>
            , <&key_physical_attrs 175 100  925  100       0     0     0>
            , <&key_physical_attrs 175 100    0  200       0     0     0>
            , <&key_physical_attrs 100 100  175  200       0     0     0>
            , <&key_physical_attrs 100 100  275  200       0     0     0>
            , <&key_physical_attrs 100 100  375  200       0     0     0>
            , <&key_physical_attrs 100 100  475  200       0     0     0>
            , <&key_physical_attrs 100 100  575  200       0     0     0>
            , <&key_physical_attrs 100 100  675  200       0     0     0>
            , <&key_physical_attrs 100 100  775  200       0     0     0>
            , <&key_physical_attrs 100 100  875  200       0     0     0>
            , <&key_physical_attrs 125 100  975  200       0     0     0>
            , <&key_physical_attrs 100 100  150  300       0     0     0>
            , <&key_physical_attrs 100 100  250  300       0     0     0>
            , <&key_physical_attrs 200 100  350  300       0     0     0>
            , <&key_physical_attrs 300 100  550  300       0     0     0>
            , <&key_physical_attrs 100 100  850  300       0     0     0>
            ;
    };

    /omit-if-no-ref/ layout_standard_3u1u1u1u: layout_standard_3u1u1u1u {
        compatible = "zmk,physical-layout";
        display-name = "Standard / 3u 1u 1u 1u";

        transform = <&transform_standard_3u1u1u1u>;

        keys  //                     w   h    x    y     rot    rx    ry
            = <&key_physical_attrs 100 100    0    0       0     0     0>
            , <&key_physical_attrs 100 100  100    0       0     0     0>
            , <&key_physical_attrs 100 100  200    0       0     0     0>
            , <&key_physical_attrs 100 100  300    0       0     0     0>
            , <&key_physical_attrs 100 100  400    0       0     0     0>
            , <&key_physical_attrs 100 100  500    0       0     0     0>
            , <&key_physical_attrs 100 100  600    0       0     0     0>
            , <&key_physical_attrs 100 100  700    0       0     0     0>
            , <&key_physical_attrs 100 100  800    0       0     0     0>
            , <&key_physical_attrs 100 100  900    0       0     0     0>
            , <&key_physical_attrs 100 100 1000    0       0     0     0>
            , <&key_physical_attrs 125 100    0  100       0     0     0>
            , <&key_physical_attrs 100 100  125  100       0     0     0>
            , <&key_physical_attrs 100 100  225  100       0     0     0>
            , <&key_physical_attrs 100 100  325  100       0     0     0>
            , <&key_physical_attrs 100 100  425  100       0     0     0>
            , <&key_physical_attrs 100 100  525  100       0     0     0>
            , <&key_physical_attrs 100 100  625  100       0     0     0>
            , <&key_physical_attrs 100 100  725  100       0     0     0>
            , <&key_physical_attrs 100 100  825  100       0     0     0>
            , <&key_physical_attrs 175 100  925  100       0     0     0>
            , <&key_physical_attrs 175 100    0  200       0     0     0>
            , <&key_physical_attrs 100 100  175  200       0     0     0>
            , <&key_physical_attrs 100 100  275  200       0     0     0>
            , <&key_physical_attrs 100 100  375  200       0     0     0>
            , <&key_physical_attrs 100 100  475  200       0     0     0>
            , <&key_physical_attrs 100 100  575  200       0     0     0>
            , <&key_physical_attrs 100 100  675  200       0     0     0>
            , <&key_physical_attrs 100 100  775  200       0     0     0>
            , <&key_physical_attrs 100 100  875  200       0     0     0>
            , <&key_physical_attrs 125 100  975  200       0     0     0>
            , <&key_physical_attrs 100 100  150  300       0     0     0>
            , <&key_physical_attrs 300 100  250  300       0     0     0>
            , <&key_physical_attrs 100 100  550  300       0     0     0>
            , <&key_physical_attrs 100 100  650  300       0     0     0>
            , <&key_physical_attrs 100 100  750  300       0     0     0>
            , <&key_physical_attrs 100 100  850  300       0     0     0>
            ;
    };

    /omit-if-no-ref/ layout_standard_3u2u1u: layout_standard_3u2u1u {
        compatible = "zmk,physical-layout";
        display-name = "Standard / 3u 2u 1u";

        transform = <&transform_standard_3u2u1u>;

        keys  //                     w   h    x    y     rot    rx    ry
            = <&key_physical_attrs 100 100    0    0       0     0     0>
            , <&key_physical_attrs 100 100  100    0       0     0     0>
            , <&key_physical_attrs 100 100  200    0       0     0     0>
            , <&key_physical_attrs 100 100  300    0       0     0     0>
            , <&key_physical_attrs 100 100  400    0       0     0     0>
            , <&key_physical_attrs 100 100  500    0       0     0     0>
            , <&key_physical_attrs 100 100  600    0       0     0     0>
            , <&key_physical_attrs 100 100  700    0       0     0     0>
            , <&key_physical_attrs 100 100  800    0       0     0     0>
            , <&key_physical_attrs 100 100  900    0       0     0     0>
            , <&key_physical_attrs 100 100 1000    0       0     0     0>
            , <&key_physical_attrs 125 100    0  100       0     0     0>
            , <&key_physical_attrs 100 100  125  100       0     0     0>
            , <&key_physical_attrs 100 100  225  100       0     0     0>
            , <&key_physical_attrs 100 100  325  100       0     0     0>
            , <&key_physical_attrs 100 100  425  100       0     0     0>
            , <&key_physical_attrs 100 100  525  100       0     0     0>
            , <&key_physical_attrs 100 100  625  100       0     0     0>
            , <&key_physical_attrs 100 100  725  100       0     0     0>
            , <&key_physical_attrs 100 100  825  100       0     0     0>
            , <&key_physical_attrs 175 100  925  100       0     0     0>
            , <&key_physical_attrs 175 100    0  200       0     0     0>
            , <&key_physical_attrs 100 100  175  200       0     0     0>
            , <&key_physical_attrs 100 100  275  200       0     0     0>
            , <&key_physical_attrs 100 100  375  200       0     0     0>
            , <&key_physical_attrs 100 100  475  200       0     0     0>
            , <&key_physical_attrs 100 100  575  200       0     0     0>
            , <&key_physical_attrs 100 100  675  200       0     0     0>
            , <&key_physical_attrs 100 100  775  200       0     0     0>
            , <&key_physical_attrs 100 100  875  200       0     0     0>
            , <&key_physical_attrs 125 100  975  200       0     0     0>
            , <&key_physical_attrs 100 100  150  300       0     0     0>
            , <&key_physical_attrs 300 100  250  300       0     0     0>
            , <&key_physical_attrs 200 100  550  300       0     0     0>
            , <&key_physical_attrs 100 100  750  300       0     0     0>
            , <&key_physical_attrs 100 100  850  300       0     0     0>
            ;
    };

    /omit-if-no-ref/ layout_standard_2x3u: layout_standard_2x3u {
        compatible = "zmk,physical-layout";
        display-name = "Standard / 2x3u";

        transform = <&transform_standard_2x3u>;

        keys  //                     w   h    x    y     rot    rx    ry
            = <&key_physical_attrs 100 100    0    0       0     0     0>
            , <&key_physical_attrs 100 100  100    0       0     0     0>
            , <&key_physical_attrs 100 100  200    0       0     0     0>
            , <&key_physical_attrs 100 100  300    0       0     0     0>
            , <&key_physical_attrs 100 100  400    0       0     0     0>
            , <&key_physical_attrs 100 100  500    0       0     0     0>
            , <&key_physical_attrs 100 100  600    0       0     0     0>
            , <&key_physical_attrs 100 100  700    0       0     0     0>
            , <&key_physical_attrs 100 100  800    0       0     0     0>
            , <&key_physical_attrs 100 100  900    0       0     0     0>
            , <&key_physical_attrs 100 100 1000    0       0     0     0>
            , <&key_physical_attrs 125 100    0  100       0     0     0>
            , <&key_physical_attrs 100 100  125  100       0     0     0>
            , <&key_physical_attrs 100 100  225  100       0     0     0>
            , <&key_physical_attrs 100 100  325  100       0     0     0>
            , <&key_physical_attrs 100 100  425  100       0     0     0>
            , <&key_physical_attrs 100 100  525  100       0     0     0>
            , <&key_physical_attrs 100 100  625  100       0     0     0>
            , <&key_physical_attrs 100 100  725  100       0     0     0>
            , <&key_physical_attrs 100 100  825  100       0     0     0>
            , <&key_physical_attrs 175 100  925  100       0     0     0>
            , <&key_physical_attrs 175 100    0  200       0     0     0>
            , <&key_physical_attrs 100 100  175  200       0     0     0>
            , <&key_physical_attrs 100 100  275  200       0     0     0>
            , <&key_physical_attrs 100 100  375  200       0     0     0>
            , <&key_physical_attrs 100 100  475  200       0     0     0>
            , <&key_physical_attrs 100 100  575  200       0     0     0>
            , <&key_physical_attrs 100 100  675  200       0     0     0>
            , <&key_physical_attrs 100 100  775  200       0     0     0>
            , <&key_physical_attrs 100 100  875  200       0     0     0>
            , <&key_physical_attrs 125 100  975  200       0     0     0>
            , <&key_physical_attrs 100 100  150  300       0     0     0>
            , <&key_physical_attrs 300 100  250  300       0     0     0>
            , <&key_physical_attrs 300 100  550  300       0     0     0>
            , <&key_physical_attrs 100 100  850  300       0     0     0>
            ;
    };

    /omit-if-no-ref/ layout_standard_6u: layout_standard_6u {
        compatible = "zmk,physical-layout";
        display-name = "Standard / 6u";

        transform = <&transform_standard_6u>;

        keys  //                     w   h    x    y     rot    rx    ry
            = <&key_physical_attrs 100 100    0    0       0     0     0>
            , <&key_physical_attrs 100 100  100    0       0     0     0>
            , <&key_physical_attrs 100 100  200    0       0     0     0>
            , <&key_physical_attrs 100 100  300    0       0     0     0>
            , <&key_physical_attrs 100 100  400    0       0     0     0>
            , <&key_physical_attrs 100 100  500    0       0     0     0>
            , <&key_physical_attrs 100 100  600    0       0     0     0>
            , <&key_physical_attrs 100 100  700    0       0     0     0>
            , <&key_physical_attrs 100 100  800    0       0     0     0>
            , <&key_physical_attrs 100 100  900    0       0     0     0>
            , <&key_physical_attrs 100 100 1000    0       0     0     0>
            , <&key_physical_attrs 125 100    0  100       0     0     0>
            , <&key_physical_attrs 100 100  125  100       0     0     0>
            , <&key_physical_attrs 100 100  225  100       0     0     0>
            , <&key_physical_attrs 100 100  325  100       0     0     0>
            , <&key_physical_attrs 100 100  425  100       0     0     0>
            , <&key_physical_attrs 100 100  525  100       0     0     0>
            , <&key_physical_attrs 100 100  625  100       0     0     0>
            , <&key_physical_attrs 100 100  725  100       0     0     0>
            , <&key_physical_attrs 100 100  825  100       0     0     0>
            , <&key_physical_attrs 175 100  925  100       0     0     0>
            , <&key_physical_attrs 175 100    0  200       0     0     0>
            , <&key_physical_attrs 100 100  175  200       0     0     0>
            , <&key_physical_attrs 100 100  275  200       0     0     0>
            , <&key_physical_attrs 100 100  375  200       0     0     0>
            , <&key_physical_attrs 100 100  475  200       0     0     0>
            , <&key_physical_attrs 100 100  575  200       0     0     0>
            , <&key_physical_attrs 100 100  675  200       0     0     0>
            , <&key_physical_attrs 100 100  775  200       0     0     0>
            , <&key_physical_attrs 100 100  875  200       0     0     0>
            , <&key_physical_attrs 125 100  975  200       0     0     0>
            , <&key_physical_attrs 100 100  150  300       0     0     0>
            , <&key_physical_attrs 600 100  250  300       0     0     0>
            , <&key_physical_attrs 100 100  850  300       0     0     0>
            ;
    };
};

/ {
    position_map: position_map {
        compatible = "zmk,physical-layout-position-map";

        map_ortho_all1u: map_ortho_all1u {
            physical-layout = <&layout_ortho_all1u>;
            positions = <11 20 21 22 31 32 34 35 36 37 38 39>;
        };

        map_ortho_1x2u: map_ortho_1x2u {
            physical-layout = <&layout_ortho_1x2u>;
            positions = <11 20 21 22 31 32 34 35 36 40 37 38>;
        };

        map_ortho_1u1u2u: map_ortho_1u1u2u {
            physical-layout = <&layout_ortho_1u1u2u>;
            positions = <11 20 21 22 31 32 34 35 36 37 40 38>;
        };

        map_ortho_2u1u1u: map_ortho_2u1u1u {
            physical-layout = <&layout_ortho_2u1u1u>;
            positions = <11 20 21 22 31 32 34 40 35 36 37 38>;
        };

        map_ortho_2x2u: map_ortho_2x2u {
            physical-layout = <&layout_ortho_2x2u>;
            positions = <11 20 21 22 31 32 34 39 35 36 40 37>;
        };

        map_ortho_1u1u1u3u: map_ortho_1u1u1u3u {
            physical-layout = <&layout_ortho_1u1u1u3u>;
            positions = <11 20 21 22 31 32 34 35 36 37 39 40>;
        };

        map_ortho_1u2u3u: map_ortho_1u2u3u {
            physical-layout = <&layout_ortho_1u2u3u>;
            positions = <11 20 21 22 31 32 34 38 35 36 39 40>;
        };

        map_ortho_3u1u1u1u: map_ortho_3u1u1u1u {
            physical-layout = <&layout_ortho_3u1u1u1u>;
            positions = <11 20 21 22 31 32 39 40 34 35 36 37>;
        };

        map_ortho_3u2u1u: map_ortho_3u2u1u {
            physical-layout = <&layout_ortho_3u2u1u>;
            positions = <11 20 21 22 31 32 38 39 34 35 40 36>;
        };

        map_ortho_2x3u: map_ortho_2x3u {
            physical-layout = <&layout_ortho_2x3u>;
            positions = <11 20 21 22 31 32 37 38 34 35 39 40>;
        };

        map_ortho_6u: map_ortho_6u {
            physical-layout = <&layout_ortho_6u>;
            positions = <11 20 21 22 31 32 36 37 34 38 39 40>;
        };

        map_standard_all1u: map_standard_all1u {
            physical-layout = <&layout_standard_all1u>;
            positions = <11 20 39 21 30 40 32 33 34 35 36 37>;
        };

        map_standard_1x2u: map_standard_1x2u {
            physical-layout = <&layout_standard_1x2u>;
            positions = <11 20 38 21 30 39 32 33 34 40 35 36>;
        };

        map_standard_1u1u2u: map_standard_1u1u2u {
            physical-layout = <&layout_standard_1u1u2u>;
            positions = <11 20 38 21 30 39 32 33 34 35 40 36>;
        };

        map_standard_2u1u1u: map_standard_2u1u1u {
            physical-layout = <&layout_standard_2u1u1u>;
            positions = <11 20 38 21 30 39 32 40 33 34 35 36>;
        };

        map_standard_2x2u: map_standard_2x2u {
            physical-layout = <&layout_standard_2x2u>;
            positions = <11 20 37 21 30 38 32 39 33 34 40 35>;
        };

        map_standard_1u1u1u3u: map_standard_1u1u1u3u {
            physical-layout = <&layout_standard_1u1u1u3u>;
            positions = <11 20 37 21 30 38 32 33 34 35 39 40>;
        };

        map_standard_1u2u3u: map_standard_1u2u3u {
            physical-layout = <&layout_standard_1u2u3u>;
            positions = <11 20 36 21 30 37 32 38 33 34 39 40>;
        };

        map_standard_3u1u1u1u: map_standard_3u1u1u1u {
            physical-layout = <&layout_standard_3u1u1u1u>;
            positions = <11 20 37 21 30 38 39 40 32 33 34 35>;
        };

        map_standard_3u2u1u: map_standard_3u2u1u {
            physical-layout = <&layout_standard_3u2u1u>;
            positions = <11 20 36 21 30 37 38 39 32 33 40 34>;
        };

        map_standard_2x3u: map_standard_2x3u {
            physical-layout = <&layout_standard_2x3u>;
            positions = <11 20 35 21 30 36 37 38 32 33 39 40>;
        };

        map_standard_6u: map_standard_6u {
            physical-layout = <&layout_standard_6u>;
            positions = <11 20 34 21 30 35 36 37 32 38 39 40>;
        };
    };
};
